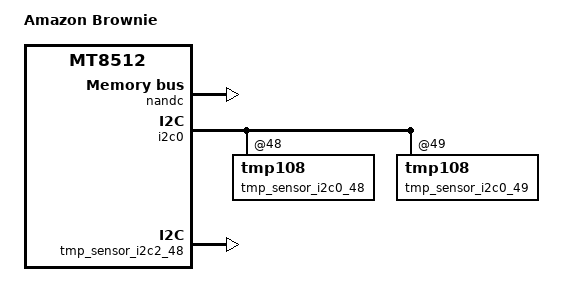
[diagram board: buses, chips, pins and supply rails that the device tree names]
/*
 * Copyright (c) 2019 - 2020 Amazon.com
 *
 * SPDX-License-Identifier: (GPL-2.0)
 */

/dts-v1/;
#include "brownie-mt8512.dtsi"

/ {
	model = "Amazon Brownie";
	compatible = "amzn,brownie-mt8512-nand-hvt-doe", "mediatek,mt8512";

	chosen {
		bootargs = "";
	};
};

&nandc {
	status = "okay";
};

&i2c0 {
	tmp_sensor_i2c0_48: tmp108@48 {
		status = "okay";
	};

	tmp_sensor_i2c0_49: tmp108@49 {
		status = "okay";
	};
};

&tmp_sensor_i2c2_48 {
	status = "okay";
};
